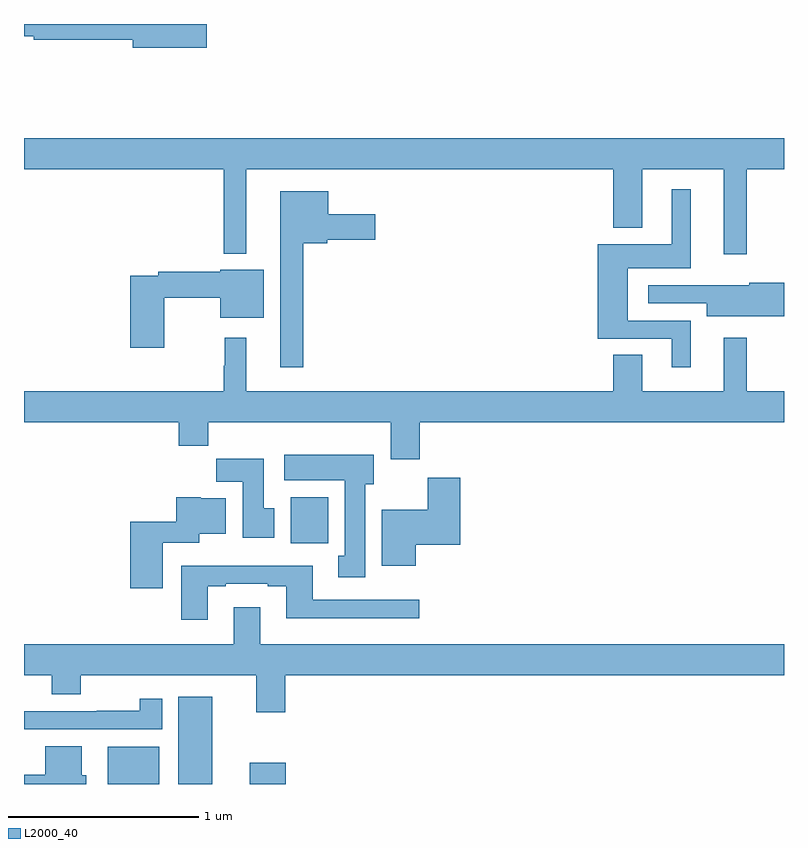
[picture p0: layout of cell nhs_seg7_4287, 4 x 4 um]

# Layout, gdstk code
import gdstk
lib = gdstk.Library(unit=1e-6, precision=1e-09)
def R(c, l, rs):  # rectangles x0, y0, x1, y1
    for r in rs: c.add(gdstk.rectangle(r[:2], r[2:], *l))
def P(c, l, *ps):  # polygons
    for p in ps: c.add(gdstk.Polygon(p, *l))
L2000_40 = (2000, 40)

nhs_seg7_4287 = lib.new_cell('nhs_seg7_4287')
R(nhs_seg7_4287, L2000_40, [(381.44,1044,381.712,1044.196), (381.812,1044,381.991,1044.46), (382.187,1044,382.378,1044.112), (382.403,1045.268,382.6,1045.51)])
P(nhs_seg7_4287, L2000_40, [(381.961,1048),(381,1048),(381,1047.935),(381.052,1047.935),(381.052,1047.916),(381.572,1047.916),(381.572,1047.874),(381.961,1047.874)],
  [(384.805,1047.236),(385,1047.236),(385,1047.4),(381,1047.4),(381,1047.236),(382.05,1047.236),(382.05,1046.792),(382.171,1046.792),(382.171,1047.236),(384.101,1047.236),(384.101,1046.927),(384.253,1046.927),(384.253,1047.236),(384.683,1047.236),(384.683,1046.787),(384.805,1046.787)],
  [(384.508,1046.439),(384.178,1046.439),(384.178,1046.714),(384.508,1046.714),(384.508,1047.13),(384.41,1047.13),(384.41,1046.842),(384.02,1046.842),(384.02,1046.343),(384.41,1046.343),(384.41,1046.193),(384.508,1046.193)],
  [(382.471,1046.846),(382.596,1046.846),(382.596,1046.864),(382.849,1046.864),(382.849,1046.998),(382.6,1046.998),(382.6,1047.121),(382.349,1047.121),(382.349,1046.193),(382.471,1046.193)],
  [(381.738,1046.56),(382.034,1046.56),(382.034,1046.453),(382.261,1046.453),(382.261,1046.707),(382.034,1046.707),(382.034,1046.696),(381.706,1046.696),(381.706,1046.676),(381.56,1046.676),(381.56,1046.295),(381.738,1046.295)],
  [(385,1046.639),(384.816,1046.639),(384.816,1046.626),(384.597,1046.626),(384.597,1046.625),(384.285,1046.625),(384.285,1046.529),(384.593,1046.529),(384.593,1046.461),(385,1046.461)],
  [(383.084,1045.904),(385,1045.904),(385,1046.068),(384.805,1046.068),(384.805,1046.35),(384.683,1046.35),(384.683,1046.068),(384.253,1046.068),(384.253,1046.258),(384.101,1046.258),(384.101,1046.068),(382.171,1046.068),(382.171,1046.35),(382.057,1046.35),(382.057,1046.201),(382.05,1046.201),(382.05,1046.068),(381,1046.068),(381,1045.904),(381.815,1045.904),(381.815,1045.78),(381.971,1045.78),(381.971,1045.904),(382.931,1045.904),(382.931,1045.71),(383.084,1045.71)],
  [(382.795,1045.578),(382.84,1045.578),(382.84,1045.732),(382.371,1045.732),(382.371,1045.598),(382.688,1045.598),(382.688,1045.202),(382.655,1045.202),(382.655,1045.089),(382.795,1045.089)],
  [(382.318,1045.452),(382.261,1045.452),(382.261,1045.711),(382.012,1045.711),(382.012,1045.592),(382.151,1045.592),(382.151,1045.296),(382.318,1045.296)],
  [(383.062,1045.259),(383.297,1045.259),(383.297,1045.612),(383.126,1045.612),(383.126,1045.444),(382.883,1045.444),(382.883,1045.148),(383.062,1045.148)],
  [(381.73,1045.271),(381.922,1045.271),(381.922,1045.316),(382.063,1045.316),(382.063,1045.504),(381.93,1045.504),(381.93,1045.51),(381.8,1045.51),(381.8,1045.381),(381.56,1045.381),(381.56,1045.029),(381.73,1045.029)],
  [(381.967,1045.041),(382.063,1045.041),(382.063,1045.053),(382.283,1045.053),(382.283,1045.041),(382.379,1045.041),(382.379,1044.872),(383.08,1044.872),(383.08,1044.969),(382.519,1044.969),(382.519,1045.15),(381.827,1045.15),(381.827,1044.864),(381.967,1044.864)],
  [(382.376,1044.572),(385,1044.572),(385,1044.736),(382.243,1044.736),(382.243,1044.93),(382.103,1044.93),(382.103,1044.736),(381,1044.736),(381,1044.572),(381.146,1044.572),(381.146,1044.473),(381.299,1044.473),(381.299,1044.572),(382.223,1044.572),(382.223,1044.378),(382.376,1044.378)],
  [(381.727,1044.448),(381.61,1044.448),(381.61,1044.386),(381.382,1044.386),(381.382,1044.384),(381,1044.384),(381,1044.288),(381.727,1044.288)],
  [(381.328,1044.045),(381.304,1044.045),(381.304,1044.199),(381.113,1044.199),(381.113,1044.049),(381,1044.049),(381,1044),(381.328,1044)])

lib.write_gds('nhs_seg7_4287.gds')
